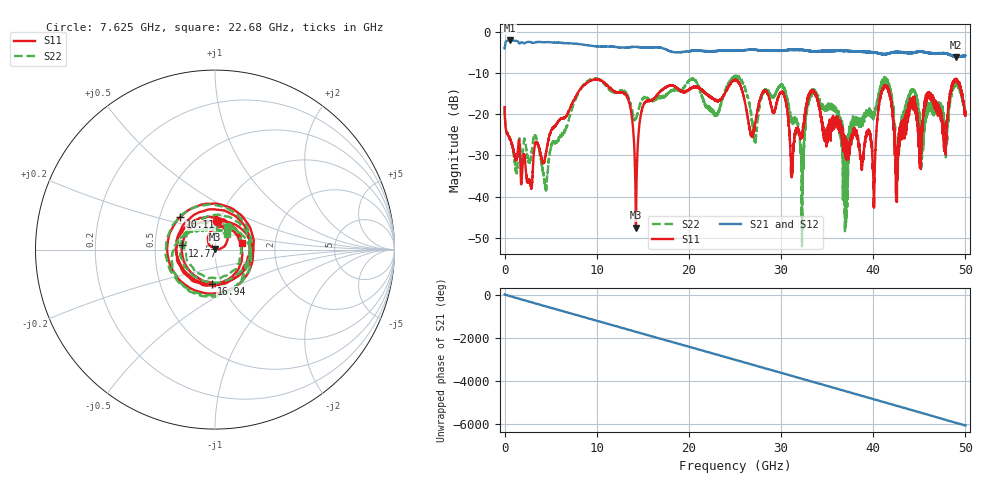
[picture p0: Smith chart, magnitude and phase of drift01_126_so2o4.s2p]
!Created with skrf (http://scikit-rf.org).
# Hz S RI R 50.0
!freq ReS11 ImS11 ReS21 ImS21 ReS12 ImS12 ReS22 ImS22
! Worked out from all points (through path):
!   10001 points, 300 kHz to 50 GHz, reference 50 ohm
!   highest |S21| = -2.00 dB at 625.3 MHz (marker M1); lowest = -6.1 dB at 48.98 GHz (marker M2)
!   group delay of S21, straight-line fit = 336 ps
!   lowest |S11| = -47.6 dB at 14.25 GHz (marker M3), VSWR 1.01, Z = 50.1 + j0.405 ohm
!   |S11| at or under -10 dB: start of sweep to end of sweep
!   |S22| runs from -52.1 to -10.5 dB; largest |S21 - S12| = 0.026
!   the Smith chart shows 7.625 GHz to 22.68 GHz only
!   S11 on the Smith chart (normalised r, x): 7.625 GHz: 0.97, +0.31; 10.11 GHz: 0.64, +0.25; 12.77 GHz: 0.69, +0.03; 16.94 GHz: 0.90, -0.35; 22.68 GHz: 1.35, +0.10
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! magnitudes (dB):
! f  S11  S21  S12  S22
! 300 kHz  -18.2  -4.0  -4.1  -17.9
! 625.3 MHz  -26.1  -2.0  -2.0  -26.1
! 4.445 GHz  -29.9  -2.4  -2.4  -37.8
! 7.625 GHz  -16.1  -2.8  -2.8  -16.8
! 8.335 GHz  -13.5  -3.0  -3.0  -13.5
! 10.11 GHz  -11.5  -3.4  -3.4  -11.3
! 12.77 GHz  -14.7  -3.7  -3.7  -14.3
! 14.25 GHz  -47.6  -3.6  -3.6  -21.2
! 16.67 GHz  -14.9  -3.7  -3.7  -15.8
! 16.94 GHz  -14.4  -3.8  -3.8  -15.7
! 22.68 GHz  -16.3  -4.6  -4.6  -19.3
! 25 GHz  -11.6  -4.5  -4.5  -11.0
! 27.15 GHz  -22.5  -4.2  -4.3  -25.8
! 30.21 GHz  -14.9  -4.5  -4.5  -13.3
! 32.28 GHz  -25.1  -4.3  -4.3  -40.0
! 33.34 GHz  -14.1  -4.6  -4.6  -14.8
! 37.02 GHz  -26.9  -4.5  -4.6  -37.4
! 40.06 GHz  -40.3  -4.9  -4.9  -20.0
! 41.67 GHz  -13.9  -5.1  -5.1  -12.7
! 42.56 GHz  -36.4  -4.8  -4.8  -29.2
! 48.98 GHz  -11.4  -6.1  -6.0  -12.7
! 50 GHz  -19.4  -5.8  -5.8  -19.5
